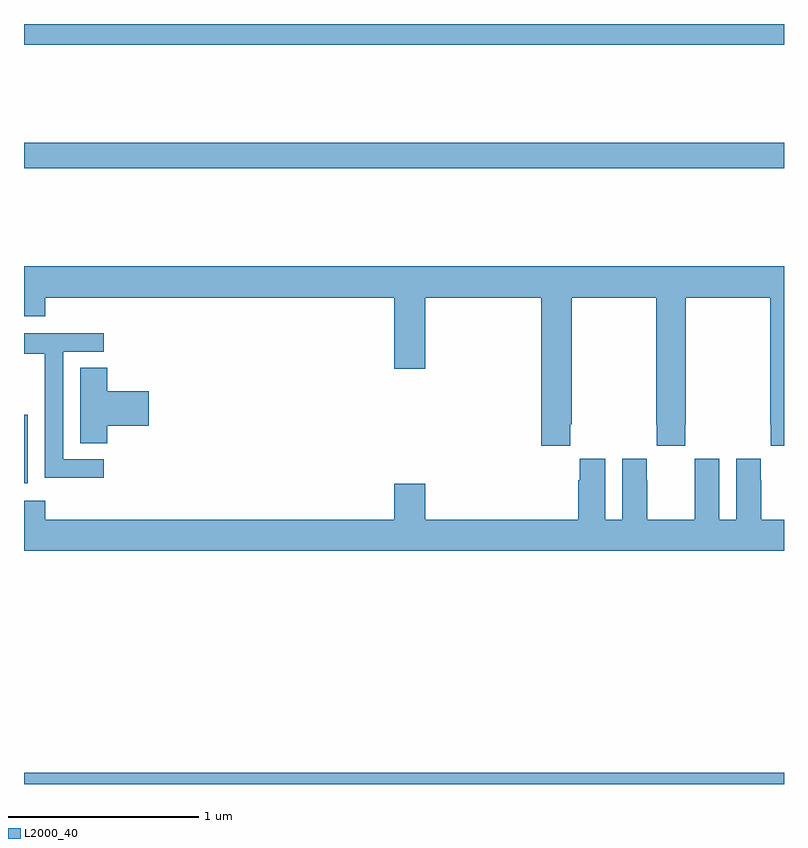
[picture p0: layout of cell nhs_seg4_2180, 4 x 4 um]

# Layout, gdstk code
import gdstk
lib = gdstk.Library(unit=1e-6, precision=1e-09)
def R(c, l, rs):  # rectangles x0, y0, x1, y1
    for r in rs: c.add(gdstk.rectangle(r[:2], r[2:], *l))
def P(c, l, *ps):  # polygons
    for p in ps: c.add(gdstk.Polygon(p, *l))
L2000_40 = (2000, 40)

nhs_seg4_2180 = lib.new_cell('nhs_seg4_2180')
R(nhs_seg4_2180, L2000_40, [(223,820.9,227,820.96), (223,822.482,223.021,822.843), (223,824.14,227,824.276), (223,824.792,227,824.9)])
P(nhs_seg4_2180, L2000_40, [(225.875,822.793),(225.882,822.793),(225.882,823.46),(226.327,823.46),(226.327,822.793),(226.329,822.793),(226.329,822.681),(226.479,822.681),(226.479,822.793),(226.482,822.793),(226.482,823.46),(226.927,823.46),(226.927,822.793),(226.929,822.793),(226.929,822.681),(227,822.681),(227,823.624),(223,823.624),(223,823.361),(223.112,823.361),(223.112,823.46),(224.948,823.46),(224.948,823.086),(225.112,823.086),(225.112,823.46),(225.722,823.46),(225.722,822.681),(225.875,822.681)],
  [(223.42,822.609),(223.206,822.609),(223.206,823.176),(223.42,823.176),(223.42,823.272),(223,823.272),(223,823.164),(223.108,823.164),(223.108,822.94),(223.11,822.94),(223.11,822.511),(223.42,822.511)],
  [(223.439,822.785),(223.657,822.785),(223.657,822.968),(223.439,822.968),(223.439,823.091),(223.295,823.091),(223.295,822.694),(223.439,822.694)],
  [(227,822.292),(226.879,822.292),(226.879,822.5),(226.878,822.5),(226.878,822.613),(226.748,822.613),(226.748,822.292),(226.66,822.292),(226.66,822.613),(226.53,822.613),(226.53,822.5),(226.529,822.5),(226.529,822.292),(226.279,822.292),(226.279,822.5),(226.278,822.5),(226.278,822.613),(226.148,822.613),(226.148,822.292),(226.06,822.292),(226.06,822.613),(225.926,822.613),(225.926,822.5),(225.917,822.5),(225.917,822.292),(225.112,822.292),(225.112,822.481),(224.948,822.481),(224.948,822.292),(223.112,822.292),(223.112,822.391),(223,822.391),(223,822.128),(227,822.128)])

lib.write_gds('nhs_seg4_2180.gds')
